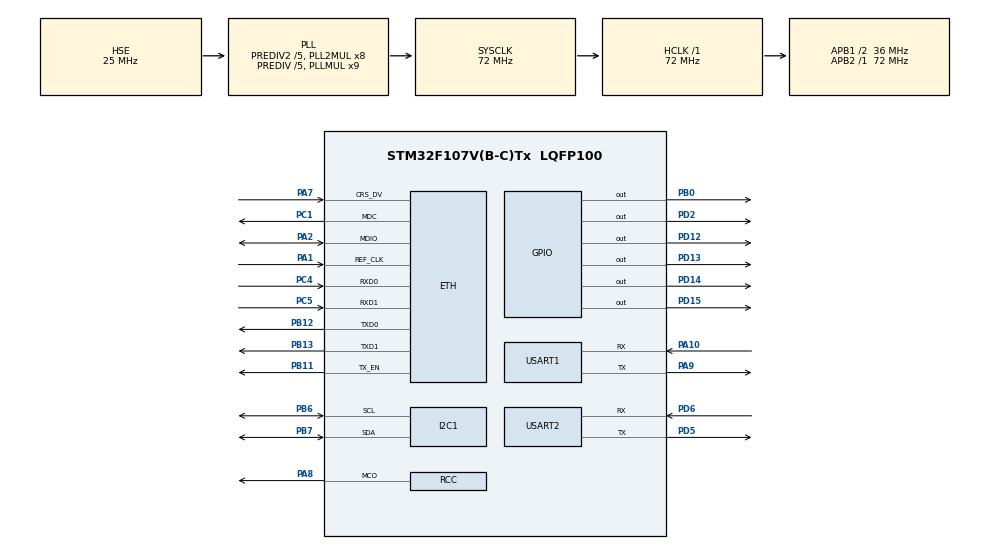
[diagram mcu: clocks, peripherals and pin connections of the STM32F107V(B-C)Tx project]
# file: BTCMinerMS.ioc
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ETH.MediaInterface=ETH_MEDIA_INTERFACE_RMII
Mcu.Family=STM32F1
Mcu.Name=STM32F107V(B-C)Tx
Mcu.Package=LQFP100
NVIC.PriorityGroup=NVIC_PRIORITYGROUP_4
OSC_IN.Mode=HSE-External-Oscillator
OSC_IN.Signal=RCC_OSC_IN
OSC_OUT.Mode=HSE-External-Oscillator
OSC_OUT.Signal=RCC_OSC_OUT
PA1.Mode=RMII
PA1.Signal=ETH_REF_CLK
PA10.Mode=Asynchronous
PA10.Signal=USART1_RX
PA13.Mode=Serial_Wire
PA13.Signal=SYS_JTMS-SWDIO
PA14.Mode=Serial_Wire
PA14.Signal=SYS_JTCK-SWCLK
PA2.Mode=RMII
PA2.Signal=ETH_MDIO
PA7.Mode=RMII
PA7.Signal=ETH_CRS_DV
PA8.Mode=Clock-out
PA8.Signal=RCC_MCO
PA9.Mode=Asynchronous
PA9.Signal=USART1_TX
PB0.Signal=GPIO_Output
PB11.Mode=RMII
PB11.Signal=ETH_TX_EN
PB12.Mode=RMII
PB12.Signal=ETH_TXD0
PB13.Mode=RMII
PB13.Signal=ETH_TXD1
PB6.Mode=I2C
PB6.Signal=I2C1_SCL
PB7.Mode=I2C
PB7.Signal=I2C1_SDA
PC1.Mode=RMII
PC1.Signal=ETH_MDC
PC14-OSC32_IN.Mode=LSE-External-Oscillator
PC14-OSC32_IN.Signal=RCC_OSC32_IN
PC15-OSC32_OUT.Mode=LSE-External-Oscillator
PC15-OSC32_OUT.Signal=RCC_OSC32_OUT
PC4.Mode=RMII
PC4.Signal=ETH_RXD0
PC5.Mode=RMII
PC5.Signal=ETH_RXD1
PD12.Signal=GPIO_Output
PD13.Signal=GPIO_Output
PD14.Signal=GPIO_Output
PD15.Signal=GPIO_Output
PD2.Signal=GPIO_Output
PD5.Mode=Asynchronous
PD5.Signal=USART2_TX
PD6.Mode=Asynchronous
PD6.Signal=USART2_RX
ProjectManager.HeapSize=0x200
ProjectManager.StackSize=0x400
ProjectManager.TargetToolchain=MDK-ARM V5
RCC.AHBFreq_Value=72000000
RCC.APB1CLKDivider=RCC_HCLK_DIV2
RCC.APB1Freq_Value=36000000
RCC.APB1TimFreq_Value=72000000
RCC.APB2Freq_Value=72000000
RCC.APB2TimFreq_Value=72000000
RCC.HCLKFreq_Value=72000000
RCC.HSEDivPLL=RCC_HSE_PREDIV_DIV5
RCC.HSE_VALUE=25000000
RCC.PLL3Mul=RCC_PLLI2S_MUL10
RCC.PLLMUL=RCC_PLL_MUL9
RCC.PLLSourceVirtual=RCC_PLLSOURCE_HSE
RCC.Prediv1Source=RCC_PREDIV1_SOURCE_PLL2
RCC.Prediv2=RCC_HSE_PREDIV2_DIV5
RCC.RCC_MCOSource=RCC_MCO1SOURCE_PLL3CLK
RCC.SYSCLKFreq_VALUE=72000000
RCC.SYSCLKSource=RCC_SYSCLKSOURCE_PLLCLK
RCC.USBFreq_Value=48000000
USART1.VirtualMode=VM_ASYNC
USART2.VirtualMode=VM_ASYNC
board=custom

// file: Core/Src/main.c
/* USER CODE BEGIN Header */
/**
  ******************************************************************************
  * @file           : main.c
  * @brief          : Main program body
  ******************************************************************************
  */
/* USER CODE END Header */
#include "main.h"

/* USER CODE BEGIN Includes */
#include "bm1366.h"
#include "protocol.h"
#include "eth_drv.h"
#include "eth_netif.h"
#include "lwip_eth.h"
#include "debug_serial.h"
#include "Delay.h"
#include "tps546d24a.h"
#include "tmp1075.h"
#include <string.h>
#include <stdio.h>
/* USER CODE END Includes */

/* USER CODE BEGIN PD */
#define STATUS_LED_PIN   GPIO_PIN_13
#define STATUS_LED_PORT  GPIOC
#define ASIC_BOOT_PIN    GPIO_PIN_1
#define ASIC_BOOT_PORT   GPIOB
#define ASIC_CTRL_PIN    GPIO_PIN_14
#define ASIC_CTRL_PORT   GPIOB

/* USER CODE END PD */

ETH_HandleTypeDef heth;

I2C_HandleTypeDef hi2c1;

UART_HandleTypeDef huart1;
UART_HandleTypeDef huart2;

/* USER CODE BEGIN PV */

/* ===== Application Config (edit to match your network) ===== */
/* MAC: last 3 bytes are derived at runtime from the board UID (see main()),
   so every board gets a unique MAC for multi-board deployments. The values
   below are just the initial placeholder, overwritten before eth_init(). */
#define CFG_MAC0   0x02   /* locally administered, unicast */
#define CFG_MAC1   0x08
#define CFG_MAC2   0xDC
#define CFG_MAC3   0xAB
#define CFG_MAC4   0xCD
#define CFG_MAC5   0xEF

/* IPv4 address/g+ateway/netmask are obtained via DHCP at runtime
   (see eth_drv.c eth_init -> dhcp_start). The board's own IP is no
   longer statically configured. */

#define CFG_LOCAL_PORT   6000

/* Host PC running BTCMinerControl (HostServices board listener on PC_PORT).
   Board's own IP is obtained via DHCP, so only the server address is static. */
#define PC_IP0     10
#define PC_IP1     8
#define PC_IP2     1
#define PC_IP3     3
#define PC_PORT    4200

#define BM1366_EXPECTED_COUNT  1    /* bench: only 1 chip populated */
#define BM1366_TARGET_FREQ_MHZ 200.0f  /* TEMP: verify result-rate scaling; watch current (≈6-7W est) */
/* Bench-test switch: allow a received PC job to reach USART1 even when the
   chip probe finds no BM1366. Disable this on production firmware if desired. */
#define BM1366_UART_TEST_WITHOUT_ASIC  1
/* When 0, parsed PC jobs are logged but NOT forwarded to the ASIC (bring-up:
   detect chips and report the count without hashing). Flip to 1 to start
   dispatching real work. */
#define BM1366_DISPATCH_JOBS  1

#define FW_VERSION_MAJOR  2
#define FW_VERSION_MINOR  4
#define FW_VERSION        ((FW_VERSION_MAJOR << 8) | FW_VERSION_MINOR)
/* Board ID: read at runtime from the STM32F107 96-bit unique device ID (UID)
   at 0x1FFFF7E8. We use the low 64 bits (UID words 0 and 1). */

/* ===== Global Variables ===== */
volatile uint32_t g_ms = 0;
static int  asic_ready    = 0;
/* TEMP: keep last job to re-dispatch every 5s with increasing starting_nonce
   (mirrors ESP-Miner create_jobs_task pacing -- chip idles between jobs). */
static protocol_job_t last_job;
static int  last_job_valid  = 0;
static uint32_t last_redisp = 0;
static uint8_t disp_job_id  = 0;
static int  connected     = 0;
static uint64_t BOARD_ID  = 0;   /* set from STM32F107 UID at runtime */
static uint32_t active_job_version = 0;  /* base version of current job (for nonce version-rolling) */

static eth_config_t eth_cfg = {
    .mac = {CFG_MAC0, CFG_MAC1, CFG_MAC2, CFG_MAC3, CFG_MAC4, CFG_MAC5},
    .local_port = CFG_LOCAL_PORT
};

static uint8_t pc_ip_arr[4] = {PC_IP0, PC_IP1, PC_IP2, PC_IP3};
static uint8_t net_rx_buf[2048];
static uint16_t net_rx_buffered = 0;

static uint32_t last_reconnect = 0;
static uint32_t last_hello = 0;
static uint32_t last_sensor_probe = 0;
static uint32_t last_telemetry_sample = 0;
static tps546d24a_t tps546d24a;
static tmp1075_t tmp1075;
static uint8_t tps_detected = 0;
static uint8_t tmp_detected = 0;
static uint8_t tps_reported_state = 0xFFU;
static uint8_t tmp_reported_state = 0xFFU;
static uint8_t tps_desired_enabled = 1;
static protocol_telemetry_t board_telemetry;

/* USER CODE END PV */

void SystemClock_Config(void);
static void MX_GPIO_Init(void);
static void MX_ETH_Init(void);
static void MX_I2C1_Init(void);
static void MX_USART1_UART_Init(void);
static void MX_USART2_UART_Init(void);
/* USER CODE BEGIN PFP */

/* Extra GPIO init for pins not handled by CubeMX */
static void MX_GPIO_Init_Ext(void);

/* Board hello / nonce send / TCP recv helpers */
static void send_board_hello(void);
static void send_board_telemetry(void);
static void probe_i2c_devices(void);
static void sample_i2c_telemetry(void);
static void check_bm1366_results(void);
static void receive_tcp_data(void);

/* USER CODE END PFP */

int main(void)
{

  /* MCU Configuration--------------------------------------------------------*/

  /* Reset of all peripherals, Initializes the Flash interface and the Systick. */
  HAL_Init();

  /* Configure the system clock */
  SystemClock_Config();

  /* USER CODE BEGIN SysInit */
  /* Early LED blink: 1 slow blink = clock init OK (before USART2 is ready) */
  {
    __HAL_RCC_GPIOC_CLK_ENABLE();
    GPIO_InitTypeDef early_led = {0};
    early_led.Pin = STATUS_LED_PIN;
    early_led.Mode = GPIO_MODE_OUTPUT_PP;
    early_led.Pull = GPIO_NOPULL;
    early_led.Speed = GPIO_SPEED_FREQ_LOW;
    HAL_GPIO_Init(STATUS_LED_PORT, &early_led);
    HAL_GPIO_WritePin(STATUS_LED_PORT, STATUS_LED_PIN, GPIO_PIN_RESET);
    HAL_Delay(200);
    HAL_GPIO_WritePin(STATUS_LED_PORT, STATUS_LED_PIN, GPIO_PIN_SET);
    HAL_Delay(200);
    HAL_GPIO_WritePin(STATUS_LED_PORT, STATUS_LED_PIN, GPIO_PIN_RESET);
    HAL_Delay(200);
    HAL_GPIO_WritePin(STATUS_LED_PORT, STATUS_LED_PIN, GPIO_PIN_SET);
  }
  /* USER CODE END SysInit */

  /* Initialize all configured peripherals */
  MX_GPIO_Init();
  MX_GPIO_Init_Ext();
  /* ETH and I2C are initialized after the PHY diagnostics below. Calling
     MX_ETH_Init here can hang before diagnostics when REF_CLK is absent. */
  MX_USART1_UART_Init();
  MX_USART2_UART_Init();
  /* USER CODE BEGIN 2 */
  /* ---- Quick diagnostics: USART2 should be alive now ---- */
  /* Raw byte test: write 'U' directly to USART2 DR (bypasses HAL) */
  USART2->DR = 'U';
  while (!(USART2->SR & USART_SR_TC)) {}
  USART2->DR = '\r';
  while (!(USART2->SR & USART_SR_TC)) {}
  USART2->DR = '\n';
  while (!(USART2->SR & USART_SR_TC)) {}

  printf("\r\n===== USART2 OK - DIAG START =====\r\n");

  /* Clock diagnostics */
  printf("[DIAG] HSE_VALUE=%lu Hz\r\n", (unsigned long)HSE_VALUE);
  printf("[DIAG] SystemCoreClock=%lu Hz\r\n", (unsigned long)SystemCoreClock);
  printf("[DIAG] PCLK1=%lu Hz (USART2 clk)\r\n", (unsigned long)HAL_RCC_GetPCLK1Freq());
  printf("[DIAG] PCLK2=%lu Hz (USART1 clk)\r\n", (unsigned long)HAL_RCC_GetPCLK2Freq());
  printf("[DIAG] huart2.gState=%d (expect 0x20=READY)\r\n", (int)huart2.gState);

  /* Board ID = STM32F107 96-bit unique device ID (UID @ 0x1FFFF7E8), low 64 bits */
  BOARD_ID = ((uint64_t)(*(uint32_t*)(UID_BASE + 4U)) << 32) | *(uint32_t*)UID_BASE;
  printf("[DIAG] Board ID (UID): 0x%08lX%08lX\r\n",
         (unsigned long)(BOARD_ID >> 32), (unsigned long)BOARD_ID);

  /* Derive a unique MAC per board from the UID so multiple boards can coexist
     on the same L2 segment (50-board deployment). 0x02 = locally administered,
     unicast; last 3 bytes from the UID -> unique per chip. */
  eth_cfg.mac[0] = 0x02;
  eth_cfg.mac[1] = 0x08;
  eth_cfg.mac[2] = 0xDC;
  eth_cfg.mac[3] = (uint8_t)((BOARD_ID >> 56) & 0xFF);  /* UID word1 (wafer Y coord) */
  eth_cfg.mac[4] = (uint8_t)((BOARD_ID >> 48) & 0xFF);
  eth_cfg.mac[5] = (uint8_t)((BOARD_ID >> 40) & 0xFF);

  /* MCO/PLL3 check: PA8 (MCO) should output 50 MHz from PLL3 -> DP83848.
     If PLL3 isn't locked or MCO source isn't PLL3, PA8 is dead -> no clock
     to PHY/MAC -> MX_ETH_Init hangs on the DMA SWR (link stays DOWN too). */
  {
    uint32_t to = 200000;
    while (!__HAL_RCC_GET_FLAG(RCC_FLAG_PLLI2SRDY) && --to);
    int p3 = __HAL_RCC_GET_FLAG(RCC_FLAG_PLLI2SRDY) ? 1 : 0;
    printf("[CLK] PLL3(PLLI2S)ready=%d  RCC_CR=0x%08lX  RCC_CFGR=0x%08lX\r\n",
           p3, (unsigned long)RCC->CR, (unsigned long)RCC->CFGR);
  }

  /* STATUS LED blink: 3 fast blinks = USART init done */
  for (int i = 0; i < 3; i++) {
    HAL_GPIO_WritePin(STATUS_LED_PORT, STATUS_LED_PIN, GPIO_PIN_RESET);
    HAL_Delay(80);
    HAL_GPIO_WritePin(STATUS_LED_PORT, STATUS_LED_PIN, GPIO_PIN_SET);
    HAL_Delay(80);
  }

  /* ---- Probe PHY via MDIO BEFORE HAL_ETH_Init ----
     On this board PD2 no longer resets the DP83848 (the PHY resets with the
     MCU), so toggling PD2 is a no-op. HAL_ETH_Init's first step is a DMA
     software reset (DMABMR.SWR) that only self-clears while the 50 MHz
     REF_CLK (PHY -> PA1) is present; if REF_CLK is absent the SWR times out
     (HAL_TIMEOUT) and MX_ETH_Init -> Error_Handler hangs. MDIO (MDC/MDIO)
     does NOT need REF_CLK -- only the ETH peripheral clock -- so we can talk
     to the PHY here, before the DMA-SWR gate, to see whether it's alive and
     what mode it's strapped into. */
  printf("[DIAG] MDIO probe of PHY @0x01...\r\n");
  {
    __HAL_RCC_ETH_CLK_ENABLE();
    GPIO_InitTypeDef gi = {0};
    gi.Mode = GPIO_MODE_AF_PP; gi.Speed = GPIO_SPEED_FREQ_HIGH;
    gi.Pin = GPIO_PIN_1;  HAL_GPIO_Init(GPIOC, &gi);   /* MDC  = PC1 */
    gi.Pin = GPIO_PIN_2;  HAL_GPIO_Init(GPIOA, &gi);   /* MDIO = PA2 */
    uint16_t bcr  = ETH_ReadPHYRegister(0x01, 0x00);
    uint16_t bsr  = ETH_ReadPHYRegister(0x01, 0x01);
    uint16_t id1  = ETH_ReadPHYRegister(0x01, 0x02);
    uint16_t id2  = ETH_ReadPHYRegister(0x01, 0x03);
    uint16_t phys = ETH_ReadPHYRegister(0x01, 0x10);
    uint16_t s18  = ETH_ReadPHYRegister(0x01, 0x18);
    uint16_t s19  = ETH_ReadPHYRegister(0x01, 0x19);
    printf("[PHYPROBE] BCR=0x%04X BSR=0x%04X ID=0x%04X:0x%04X (exp 0x2000:0x5C90)\r\n",
           bcr, bsr, id1, id2);
    printf("[PHYPROBE] PHYSTS(0x10)=0x%04X STRAP18=0x%04X STRAP19=0x%04X\r\n",
           phys, s18, s19);
    printf("[PHYPROBE] link=%s  (ID=0xFFFF/0x0000 -> PHY not responding; check 25MHz xtal, MDIO wiring, PHY addr)\r\n",
           (bsr & 0x0004) ? "UP" : "DOWN");
  }

  /* Give the PHY time after MCU reset to emit a stable REF_CLK on PA1 */
  HAL_Delay(300);

  /* ---- Now init ETH ---- */
  printf("[DIAG] About to init ETH...\r\n");
  MX_ETH_Init();
  printf("[DIAG] ETH HAL init done\r\n");

  printf("[DIAG] About to init I2C...\r\n");
  MX_I2C1_Init();
  printf("[DIAG] I2C init done\r\n");

  tps546d24a_init(&tps546d24a, &hi2c1);
  tmp1075_init(&tmp1075, &hi2c1);
  probe_i2c_devices();
  sample_i2c_telemetry();
  last_sensor_probe = HAL_GetTick();
  last_telemetry_sample = last_sensor_probe;

  /* ?? network banner */
  printf("[NET] MAC: %02X:%02X:%02X:%02X:%02X:%02X\r\n",
         eth_cfg.mac[0], eth_cfg.mac[1], eth_cfg.mac[2],
         eth_cfg.mac[3], eth_cfg.mac[4], eth_cfg.mac[5]);
  printf("[NET] IP: DHCP (acquired at runtime)\r\n");
  printf("[NET] Server: %d.%d.%d.%d:%d\r\n", PC_IP0, PC_IP1, PC_IP2, PC_IP3, PC_PORT);

  /* SysTick for g_ms (HAL already started SysTick) */
  extern volatile uint32_t g_ms;
  g_ms = HAL_GetTick();

  printf("\r\n========================================\r\n");
  printf("  BTCMinerMS F107VCT6 + DP83848\r\n");
  printf("  FW v%d.%d\r\n", FW_VERSION_MAJOR, FW_VERSION_MINOR);
  printf("========================================\r\n");
  printf("[SYS] ETH init...\r\n");
  if (!eth_init(&eth_cfg)) {
    printf("[ERR] ETH init FAILED!\r\n");
    while (1) { HAL_Delay(300); }
  }
  printf("[SYS] ETH OK\r\n");
  eth_print_phy_status();

#if BM1366_EXPECTED_COUNT > 0
  printf("[SYS] BM1366 init...\r\n");
  bm1366_uart_init();
  HAL_Delay(500);
  int chips = bm1366_init_chips(BM1366_EXPECTED_COUNT, BM1366_TARGET_FREQ_MHZ);
  asic_ready = (chips > 0) ? chips : 0;
  printf("[SYS] BM1366: %d/%d chip(s) detected\r\n", chips, BM1366_EXPECTED_COUNT);
  printf("[SYS] Job dispatch: %s\r\n", BM1366_DISPATCH_JOBS ? "ENABLED" : "DISABLED (bring-up)");
#else
  asic_ready = 0;
  printf("[SYS] BM1366 disabled (ETH test mode)\r\n");
#endif
  /* USER CODE END 2 */

  /* Infinite loop */
  /* USER CODE BEGIN WHILE */
  static uint32_t last_led_toggle = 0;
  static uint32_t last_status     = 0;
  (void)last_reconnect; (void)last_hello;   /* file-scope static */

  while (1) {
    uint32_t now = HAL_GetTick();

    /* Drive the local 'connected' flag off the real TCP state in eth_drv.
       eth_connect() returns 0 right after issuing the (async) connect, and
       the link can drop (tcp_client_err / recv p==NULL) without main ever
       seeing it -- so a separate flag desyncs and we never reconnect. */
    {
      int net_ok = eth_is_connected();
      if (net_ok && !connected) {
        connected = 1;
        net_rx_buffered = 0;
        printf("[NET] TCP OK\r\n");
        send_board_hello();
        send_board_telemetry();
      } else if (!net_ok && connected) {
        connected = 0;
        net_rx_buffered = 0;
        printf("[NET] TCP down, will retry\r\n");
      }
    }

    if (!connected && eth_has_ip() && (now - last_reconnect) > 1000) {
      last_reconnect = now;
      printf("[NET] Connecting %d.%d.%d.%d:%d...\r\n",
             PC_IP0, PC_IP1, PC_IP2, PC_IP3, PC_PORT);
      eth_connect(pc_ip_arr, PC_PORT);
    }

    eth_poll();
    receive_tcp_data();
    check_bm1366_results();

    /* TEMP (DISABLED): board-side re-dispatch -- host now sends a fresh
       midstate job every 5s (scheduler.tick), which is what the chip needs. */
    (void)last_redisp; (void)disp_job_id;

    if ((!tps_detected || !tmp_detected) &&
        (now - last_sensor_probe) >= 10000U) {
      last_sensor_probe = now;
      probe_i2c_devices();
    }

    if ((now - last_telemetry_sample) >= 2000U) {
      last_telemetry_sample = now;
      sample_i2c_telemetry();
      if (connected) send_board_telemetry();
    }

  if (connected && (now - last_hello) > 20000) {   /* 20s keepalive hello (was 60s -- server closed on idle) */
      last_hello = now;
      send_board_hello();
  }

    /* ? 30s ???????? */
    if ((now - last_status) > 10000) {
        uint8_t ip[4];
        last_status = now;
        eth_get_ip(ip);
        printf("\r\n[STATUS] up=%lus  ip=%u.%u.%u.%u  eth=%s  bm1366=%s  chips=%d  link=%s  rx=%lu tx=%lu DMASR=0x%08lX\r\n",
               (unsigned long)(now / 1000),
               ip[0], ip[1], ip[2], ip[3],
               connected ? "CONN" : "WAIT",
               asic_ready ? "OK" : "OFF",
               asic_ready ? bm1366_get_chip_count() : 0,
               eth_link_status() ? "UP" : "DOWN",
               (unsigned long)eth_netif_get_rx_count(),
               (unsigned long)eth_netif_get_tx_count(),
               (unsigned long)ETH->DMASR);
        if ((now % 30000) < 1000) eth_netif_reset_counts();  /* reset every 30s */
    }
    if ((now - last_led_toggle) > 500) {
        last_led_toggle = now;
        if (connected) {
            HAL_GPIO_WritePin(STATUS_LED_PORT, STATUS_LED_PIN, GPIO_PIN_RESET);
        } else {
            HAL_GPIO_TogglePin(STATUS_LED_PORT, STATUS_LED_PIN);
        }
    }

    /* Do not delay here. Ethernet RX is polled, so even a 1 ms sleep adds
       directly to ICMP and host-to-board command latency. */
  }  /* while(1) */

  /* Prevent watchdog-like reset */;
    /* USER CODE END WHILE */

}

void SystemClock_Config(void)
{
  RCC_OscInitTypeDef RCC_OscInitStruct = {0};
  RCC_ClkInitTypeDef RCC_ClkInitStruct = {0};

  /** Initializes the RCC Oscillators according to the specified parameters
  * in the RCC_OscInitTypeDef structure.
  */
  RCC_OscInitStruct.OscillatorType = RCC_OSCILLATORTYPE_HSE;
  RCC_OscInitStruct.HSEState = RCC_HSE_ON;
  RCC_OscInitStruct.HSEPredivValue = RCC_HSE_PREDIV_DIV5;
  RCC_OscInitStruct.HSIState = RCC_HSI_ON;
  RCC_OscInitStruct.Prediv1Source = RCC_PREDIV1_SOURCE_PLL2;
  RCC_OscInitStruct.PLL.PLLState = RCC_PLL_ON;
  RCC_OscInitStruct.PLL.PLLSource = RCC_PLLSOURCE_HSE;
  RCC_OscInitStruct.PLL.PLLMUL = RCC_PLL_MUL9;
  RCC_OscInitStruct.PLL2.PLL2State = RCC_PLL2_ON;
  RCC_OscInitStruct.PLL2.PLL2MUL = RCC_PLL2_MUL8;
  RCC_OscInitStruct.PLL2.HSEPrediv2Value = RCC_HSE_PREDIV2_DIV5;
  if (HAL_RCC_OscConfig(&RCC_OscInitStruct) != HAL_OK)
  {
    Error_Handler();
  }

  /** Initializes the CPU, AHB and APB buses clocks
  */
  RCC_ClkInitStruct.ClockType = RCC_CLOCKTYPE_HCLK|RCC_CLOCKTYPE_SYSCLK
                              |RCC_CLOCKTYPE_PCLK1|RCC_CLOCKTYPE_PCLK2;
  RCC_ClkInitStruct.SYSCLKSource = RCC_SYSCLKSOURCE_PLLCLK;
  RCC_ClkInitStruct.AHBCLKDivider = RCC_SYSCLK_DIV1;
  RCC_ClkInitStruct.APB1CLKDivider = RCC_HCLK_DIV2;
  RCC_ClkInitStruct.APB2CLKDivider = RCC_HCLK_DIV1;

  if (HAL_RCC_ClockConfig(&RCC_ClkInitStruct, FLASH_LATENCY_2) != HAL_OK)
  {
    Error_Handler();
  }
  HAL_RCC_MCOConfig(RCC_MCO, RCC_MCO1SOURCE_PLL3CLK, RCC_MCODIV_1);

  /** Configure the Systick interrupt time
  */
  __HAL_RCC_HSE_PREDIV2_CONFIG(RCC_HSE_PREDIV2_DIV5);

  /** Configure the Systick interrupt time
  */
  __HAL_RCC_PLLI2S_CONFIG(RCC_PLLI2S_MUL10);

  /** Configure the Systick interrupt time
  */
  __HAL_RCC_PLLI2S_ENABLE();
}

static void MX_ETH_Init(void)
{

   static uint8_t MACAddr[6];

  heth.Instance = ETH;
  heth.Init.AutoNegotiation = ETH_AUTONEGOTIATION_ENABLE;
  heth.Init.Speed = ETH_SPEED_100M;
  heth.Init.DuplexMode = ETH_MODE_FULLDUPLEX;
  heth.Init.PhyAddress = LAN8742A_PHY_ADDRESS;
  MACAddr[0] = 0x00;
  MACAddr[1] = 0x80;
  MACAddr[2] = 0xE1;
  MACAddr[3] = 0x00;
  MACAddr[4] = 0x00;
  MACAddr[5] = 0x00;
  heth.Init.MACAddr = &MACAddr[0];
  heth.Init.RxMode = ETH_RXPOLLING_MODE;
  heth.Init.ChecksumMode = ETH_CHECKSUM_BY_HARDWARE;
  heth.Init.MediaInterface = ETH_MEDIA_INTERFACE_RMII;

  if (HAL_ETH_Init(&heth) != HAL_OK)
  {
    Error_Handler();
  }

}

static void MX_I2C1_Init(void)
{

  hi2c1.Instance = I2C1;
  hi2c1.Init.ClockSpeed = 100000;
  hi2c1.Init.DutyCycle = I2C_DUTYCYCLE_2;
  hi2c1.Init.OwnAddress1 = 0;
  hi2c1.Init.AddressingMode = I2C_ADDRESSINGMODE_7BIT;
  hi2c1.Init.DualAddressMode = I2C_DUALADDRESS_DISABLE;
  hi2c1.Init.OwnAddress2 = 0;
  hi2c1.Init.GeneralCallMode = I2C_GENERALCALL_DISABLE;
  hi2c1.Init.NoStretchMode = I2C_NOSTRETCH_DISABLE;
  if (HAL_I2C_Init(&hi2c1) != HAL_OK)
  {
    Error_Handler();
  }

}

static void MX_USART1_UART_Init(void)
{

  huart1.Instance = USART1;
  huart1.Init.BaudRate = 115200;
  huart1.Init.WordLength = UART_WORDLENGTH_8B;
  huart1.Init.StopBits = UART_STOPBITS_1;
  huart1.Init.Parity = UART_PARITY_NONE;
  huart1.Init.Mode = UART_MODE_TX_RX;
  huart1.Init.HwFlowCtl = UART_HWCONTROL_NONE;
  huart1.Init.OverSampling = UART_OVERSAMPLING_16;
  if (HAL_UART_Init(&huart1) != HAL_OK)
  {
    Error_Handler();
  }

}

static void MX_USART2_UART_Init(void)
{

  huart2.Instance = USART2;
  huart2.Init.BaudRate = 115200;
  huart2.Init.WordLength = UART_WORDLENGTH_8B;
  huart2.Init.StopBits = UART_STOPBITS_1;
  huart2.Init.Parity = UART_PARITY_NONE;
  huart2.Init.Mode = UART_MODE_TX_RX;
  huart2.Init.HwFlowCtl = UART_HWCONTROL_NONE;
  huart2.Init.OverSampling = UART_OVERSAMPLING_16;
  if (HAL_UART_Init(&huart2) != HAL_OK)
  {
    Error_Handler();
  }

}

static void MX_GPIO_Init(void)
{
  GPIO_InitTypeDef GPIO_InitStruct = {0};

  /* GPIO Ports Clock Enable */
  __HAL_RCC_GPIOC_CLK_ENABLE();
  __HAL_RCC_GPIOA_CLK_ENABLE();
  __HAL_RCC_GPIOB_CLK_ENABLE();
  __HAL_RCC_GPIOD_CLK_ENABLE();

  /*Configure GPIO pin Output Level */
  HAL_GPIO_WritePin(GPIOB, GPIO_PIN_0, GPIO_PIN_RESET);

  /*Configure GPIO pin Output Level */
  HAL_GPIO_WritePin(GPIOD, GPIO_PIN_12|GPIO_PIN_13|GPIO_PIN_14|GPIO_PIN_15
                          |GPIO_PIN_2, GPIO_PIN_RESET);

  /*Configure GPIO pin : PB0 */
  GPIO_InitStruct.Pin = GPIO_PIN_0;
  GPIO_InitStruct.Mode = GPIO_MODE_OUTPUT_PP;
  GPIO_InitStruct.Pull = GPIO_NOPULL;
  GPIO_InitStruct.Speed = GPIO_SPEED_FREQ_LOW;
  HAL_GPIO_Init(GPIOB, &GPIO_InitStruct);

  /*Configure GPIO pins : PD12 PD13 PD14 PD15
                           PD2 */
  GPIO_InitStruct.Pin = GPIO_PIN_12|GPIO_PIN_13|GPIO_PIN_14|GPIO_PIN_15
                          |GPIO_PIN_2;
  GPIO_InitStruct.Mode = GPIO_MODE_OUTPUT_PP;
  GPIO_InitStruct.Pull = GPIO_NOPULL;
  GPIO_InitStruct.Speed = GPIO_SPEED_FREQ_LOW;
  HAL_GPIO_Init(GPIOD, &GPIO_InitStruct);

  /*Configure GPIO pin : PA8 */
  GPIO_InitStruct.Pin = GPIO_PIN_8;
  GPIO_InitStruct.Mode = GPIO_MODE_AF_PP;
  GPIO_InitStruct.Speed = GPIO_SPEED_FREQ_LOW;
  HAL_GPIO_Init(GPIOA, &GPIO_InitStruct);

}

/* USER CODE BEGIN 4 */
/* ===== ?? GPIO ??? (CubeMX ??????) ===== */
static void MX_GPIO_Init_Ext(void)
{
    GPIO_InitTypeDef GPIO_InitStruct = {0};

    /* GPIO ???? MX_GPIO_Init ??? */

    /* PC13 - STATUS LED (????) */
    GPIO_InitStruct.Pin = STATUS_LED_PIN;
    GPIO_InitStruct.Mode = GPIO_MODE_OUTPUT_PP;
    GPIO_InitStruct.Pull = GPIO_NOPULL;
    GPIO_InitStruct.Speed = GPIO_SPEED_FREQ_LOW;
    HAL_GPIO_Init(STATUS_LED_PORT, &GPIO_InitStruct);
    HAL_GPIO_WritePin(STATUS_LED_PORT, STATUS_LED_PIN, GPIO_PIN_SET);  /* ??: ? */

    /* PB1 - ASIC_BOOT (??) */
    GPIO_InitStruct.Pin = ASIC_BOOT_PIN;
    GPIO_InitStruct.Mode = GPIO_MODE_OUTPUT_PP;
    GPIO_InitStruct.Pull = GPIO_NOPULL;
    GPIO_InitStruct.Speed = GPIO_SPEED_FREQ_LOW;
    HAL_GPIO_Init(ASIC_BOOT_PORT, &GPIO_InitStruct);
    HAL_GPIO_WritePin(ASIC_BOOT_PORT, ASIC_BOOT_PIN, GPIO_PIN_RESET);

    /* PB14 - ASIC_CTRL (??) */
    GPIO_InitStruct.Pin = ASIC_CTRL_PIN;
    GPIO_InitStruct.Mode = GPIO_MODE_OUTPUT_PP;
    GPIO_InitStruct.Pull = GPIO_NOPULL;
    GPIO_InitStruct.Speed = GPIO_SPEED_FREQ_LOW;
    HAL_GPIO_Init(ASIC_CTRL_PORT, &GPIO_InitStruct);
    HAL_GPIO_WritePin(ASIC_CTRL_PORT, ASIC_CTRL_PIN, GPIO_PIN_RESET);
}

static void send_board_hello(void) {
    protocol_hello_t hello = {
        .board_id = BOARD_ID,
        .fw_version = FW_VERSION,
        .asic_count = (uint8_t)asic_ready,
        .status = 0
    };
    uint8_t buf[64];
    uint16_t len = protocol_encode_hello(&hello, buf);
    if (len > 0) {
        /* TEMP: HELLO print silenced
        printf("[HELLO] board_id=0x%08X%08X asic=%d fw=%d.%d len=%d\r\n",
               (uint32_t)(BOARD_ID >> 32), (uint32_t)BOARD_ID,
               hello.asic_count, FW_VERSION_MAJOR, FW_VERSION_MINOR, len); */
        eth_send(buf, len);
    }
}

static void probe_i2c_devices(void) {
    if (!tps_detected) {
        tps_detected = tps546d24a_probe(&tps546d24a);
        if (tps_detected &&
            !tps546d24a_set_enabled(&tps546d24a, tps_desired_enabled)) {
            printf("[I2C] TPS546D24A default power command failed\r\n");
        }
    }
    if (!tmp_detected) tmp_detected = tmp1075_probe(&tmp1075);
    if (tps_reported_state != tps_detected) {
        printf("[I2C] TPS546D24A @0x%02X: %s\r\n",
               TPS546D24A_I2C_ADDRESS,
               tps_detected ? "detected" : "not detected");
        tps_reported_state = tps_detected;
    }
    if (tmp_reported_state != tmp_detected) {
        if (tmp_detected) {
            printf("[I2C] TMP1075 @0x%02X: detected\r\n", tmp1075.address);
        } else {
            printf("[I2C] TMP1075 @0x48-0x4F: not detected\r\n");
        }
        tmp_reported_state = tmp_detected;
    }
}

static void sample_i2c_telemetry(void) {
    tps546d24a_telemetry_t tps_data;
    int16_t tmp_temperature = 0;
    uint8_t tps_valid = 0;
    uint8_t tmp_valid = 0;

    memset(&board_telemetry, 0, sizeof(board_telemetry));
    if (tps_detected) {
        tps_valid = tps546d24a_read_telemetry(&tps546d24a, &tps_data);
        if (tps_valid) {
            board_telemetry.vout_mv = tps_data.vout_mv;
            board_telemetry.iout_ma = tps_data.iout_ma;
            board_telemetry.power_mw = tps_data.power_mw;
            board_telemetry.tps_temperature_centi_c = tps_data.temperature_centi_c;
            board_telemetry.tps_status_word = tps_data.status_word;
            board_telemetry.power_enabled = tps_data.enabled;
        } else if (!tps546d24a_probe(&tps546d24a)) {
            tps_detected = 0;
        }
    }

    if (tmp_detected) {
        tmp_valid = tmp1075_read_temperature(&tmp1075, &tmp_temperature);
        if (tmp_valid) {
            board_telemetry.tmp_temperature_centi_c = tmp_temperature;
        } else if (HAL_I2C_IsDeviceReady(&hi2c1,
                   (uint16_t)(tmp1075.address << 1), 1, 20) != HAL_OK) {
            tmp_detected = 0;
            tmp1075.address = 0;
        }
    }

    if (tps_detected) board_telemetry.flags |= TELEMETRY_FLAG_TPS_DETECTED;
    if (tmp_detected) board_telemetry.flags |= TELEMETRY_FLAG_TMP_DETECTED;
    if (tps_valid) board_telemetry.flags |= TELEMETRY_FLAG_TPS_VALID;
    if (tmp_valid) board_telemetry.flags |= TELEMETRY_FLAG_TMP_VALID;
    if (tps_valid) board_telemetry.flags |= TELEMETRY_FLAG_POWER_VALID;
    board_telemetry.tps_address = tps_detected ? tps546d24a.address : 0;
    board_telemetry.tmp_address = tmp_detected ? tmp1075.address : 0;
}

static void send_board_telemetry(void) {
    uint8_t buf[32];
    uint16_t len = protocol_encode_telemetry(&board_telemetry, buf);
    if (len > 0) eth_send(buf, len);
}

static void check_bm1366_results(void) {
    if (!asic_ready) return;
    /* TEMP DIAG (quiet): every 5s, one line -- domain-0 count (0x88) + RX stats.
       Chip is hashing while 0x88 increases; results arrive while rx grows
       beyond the diag response bytes. */
    static uint32_t last_reg_diag = 0;
    if (HAL_GetTick() - last_reg_diag > 5000) {
        uint8_t cmd[7];
        uint8_t buf[64];
        uint16_t n;
        uint32_t regval;
        last_reg_diag = HAL_GetTick();
        cmd[0] = 0x55; cmd[1] = 0xAA; cmd[2] = 0x52; cmd[3] = 0x05;
        cmd[4] = 0x00; cmd[5] = 0x88;
        cmd[6] = bm1366_crc5(cmd + 2, 4);
        bm1366_uart_send(cmd, 7);
        HAL_Delay(10);
        n = bm1366_uart_recv(buf, sizeof(buf));
        regval = (n >= 8) ? (((uint32_t)buf[4] << 24) | ((uint32_t)buf[5] << 16) |
                             ((uint32_t)buf[6] << 8) | (uint32_t)buf[7]) : 0;
        printf("[DIAG] 0x88=%lu rx=%lu bad=%lu/%lu\r\n",
               (unsigned long)regval, (unsigned long)bm1366_get_rx_total(),
               (unsigned long)bm1366_get_bad_preamble(), (unsigned long)bm1366_get_bad_crc());
    }
    /* TEMP: dump raw RX bytes every 10s -- shows what the chip actually sends
       (incl. frames read_result would drop as non-AA garbage). */
    static uint32_t last_raw_dump = 0;
    if (0 && HAL_GetTick() - last_raw_dump > 10000) {   /* TEMP: disabled -- was stealing result frames */
        uint8_t dbuf[64];
        uint16_t dn;
        last_raw_dump = HAL_GetTick();
        dn = bm1366_uart_recv(dbuf, sizeof(dbuf));
        if (dn > 0) {
            printf("[RAW] %u bytes:", (unsigned)dn);
            for (uint16_t i = 0; i < dn; i++) printf(" %02X", dbuf[i]);
            printf("\r\n");
        }
    }
    bm1366_result_raw_t raw;
    if (bm1366_read_result(&raw, 0) > 0) {
        /* TEMP: dump raw 11-byte result frame for offline byte-order analysis */
        uint8_t *rp = (uint8_t *)&raw;
        printf("[RAWFRAME]");
        for (int i = 0; i < 11; i++) printf(" %02X", rp[i]);
        printf("\r\n");
        /* Field parsing matches ESP-Miner BM1366_process_work:
           - nonce on wire is big-endian -> byte-swap for host order
           - job_id_raw: high 5 bits = job_id, low 3 bits = small_core_id
           - core_id and asic_nr are extracted from the NONCE (not midstate_num)
           - version_raw is big-endian -> byte-swap, shift <<13, OR with base version */
        bm1366_result_t parsed = {0};
        uint32_t nonce_h = raw.nonce;   /* little-endian host read of the frame bytes == the ASIC's nonce value */
        uint16_t ver_h   = ((raw.version_raw & 0xFFU) << 8) | ((raw.version_raw >> 8) & 0xFFU);
        parsed.nonce        = nonce_h;
        parsed.job_id       = raw.job_id_raw & 0xF8;
        parsed.small_core_id= raw.job_id_raw & 0x07;
        parsed.core_id      = (nonce_h >> 25) & 0x7F;
        parsed.asic_nr      = ((nonce_h >> 17) & 0xFF) / bm1366_get_address_interval();
        parsed.rolled_version = active_job_version | ((uint32_t)ver_h << 13);
        printf("[NONCE] job_id=%d nonce=0x%08X core=%d small=%d asic=%d\r\n",
               parsed.job_id, parsed.nonce, parsed.core_id, parsed.small_core_id, parsed.asic_nr);
        uint8_t buf[64];
        uint16_t len = protocol_encode_nonce(&parsed, BOARD_ID, buf);
        if (len > 0) eth_send(buf, len);
    }
}

static void receive_tcp_data(void) {
    int received = eth_recv(net_rx_buf + net_rx_buffered,
                            (uint16_t)(sizeof(net_rx_buf) - net_rx_buffered));
    if (received > 0) net_rx_buffered = (uint16_t)(net_rx_buffered + received);
    if (net_rx_buffered == 0) return;

    /* A single TCP segment may carry several protocol frames back-to-back,
       and they were already ACKed to lwIP inside eth_recv -- so we must walk
       the whole buffer, not just the first frame, or we silently lose the
       rest. The wire format is [4B big-endian total][1B type][payload],
       so the payload begins at offset 5 of each frame. */
    uint16_t off = 0;
    while (off + 4 <= net_rx_buffered) {
        uint16_t frame_len, payload_len;
        uint8_t type = protocol_peek_frame(net_rx_buf + off, net_rx_buffered - off,
                                           &frame_len, &payload_len);
        if (frame_len == 0xFFFFU) {
            printf("[TCP] Invalid frame length; dropping buffered stream\r\n");
            net_rx_buffered = 0;
            return;
        }
        if (type == 0) break;                                  /* incomplete: preserve it */

        const uint8_t *payload = net_rx_buf + off + 5;
        if (type != MSG_LATENCY_PROBE) {
            /* printf("[TCP] type=0x%02X frame=%d payload=%d\r\n", type, frame_len, payload_len); TEMP: quiet */
        }

        switch (type) {
            case MSG_JOB: {
                protocol_job_t job;
                if (protocol_decode_job(payload, payload_len, &job) > 0) {
                    memcpy(&last_job, &job, sizeof(last_job));  /* TEMP: 5s re-dispatch */
                    last_job_valid = 1;
                    active_job_version = job.version;   /* track for nonce version-rolling */
                    printf("[JOB] id=%d midstates=%d version=0x%08X nbits=0x%08X ntime=0x%08X nonce_start=0x%08X\r\n",
                           job.job_id, job.num_midstates, job.version,
                           job.nbits, job.ntime, job.starting_nonce);
                    if (BM1366_DISPATCH_JOBS && (asic_ready || BM1366_UART_TEST_WITHOUT_ASIC)) {
                        bm1366_send_job(&job);
                        if (!asic_ready) printf("[UART1-TEST] Job forwarded without ASIC\r\n");
                    }
                    /* else: BM1366_DISPATCH_JOBS=0 -> job parsed/logged above but not forwarded (bring-up) */
                }
                break;
            }
            case MSG_SET_PARAMS: {
                protocol_setparams_t params;
                if (protocol_decode_setparams(payload, payload_len, &params) > 0) {
                    printf("[PARAM] freq=%d MHz voltage=%d mV\r\n",
                           params.freq_mhz, params.voltage_mv);
                    /* TEMP: frequency control disabled for low-power bring-up --
                       server sends 485 MHz which would overload the bench supply. */
                    if (asic_ready) printf("[PARAM] freq=%d MHz IGNORED (low-power test)\r\n", params.freq_mhz);
                }
                break;
            }
            case MSG_SET_POWER: {
                protocol_setpower_t power;
                uint8_t reply[64];
                uint16_t reply_len;
                if (!protocol_decode_setpower(payload, payload_len, &power)) {
                    reply_len = protocol_encode_error(0x20, "invalid power command", reply);
                } else if (!tps_detected) {
                    reply_len = protocol_encode_error(0x21, "TPS546D24A not detected", reply);
                } else if (!tps546d24a_set_enabled(&tps546d24a, power.enabled)) {
                    reply_len = protocol_encode_error(0x22, "TPS546D24A power command failed", reply);
                } else {
                    tps_desired_enabled = power.enabled;
                    printf("[POWER] TPS546D24A %s\r\n", power.enabled ? "ON" : "OFF");
                    sample_i2c_telemetry();
                    send_board_telemetry();
                    reply_len = protocol_encode_ack(MSG_SET_POWER, reply);
                }
                if (reply_len > 0) eth_send(reply, reply_len);
                break;
            }
            case MSG_LATENCY_PROBE: {
                protocol_latency_t latency;
                uint8_t reply[16];
                if (protocol_decode_latency(payload, payload_len, &latency)) {
                    uint16_t reply_len = protocol_encode_latency(&latency, reply);
                    if (reply_len > 0) eth_send(reply, reply_len);
                }
                break;
            }
            default:
                printf("[TCP] Unknown type 0x%02X, hex:", type);
                for (uint16_t i = 0; i < (payload_len > 16 ? 16 : payload_len); i++)
                    printf(" %02X", payload[i]);
                printf("\r\n");
                break;
        }

        off += frame_len;
    }

    if (off > 0) {
        net_rx_buffered = (uint16_t)(net_rx_buffered - off);
        if (net_rx_buffered > 0) memmove(net_rx_buf, net_rx_buf + off, net_rx_buffered);
    } else if (net_rx_buffered == sizeof(net_rx_buf)) {
        printf("[TCP] Receive frame exceeds buffer; dropping stream\r\n");
        net_rx_buffered = 0;
    }
}
/* USER CODE END 4 */

void Error_Handler(void)
{
  __disable_irq();
  while (1)
  {
  }
}
